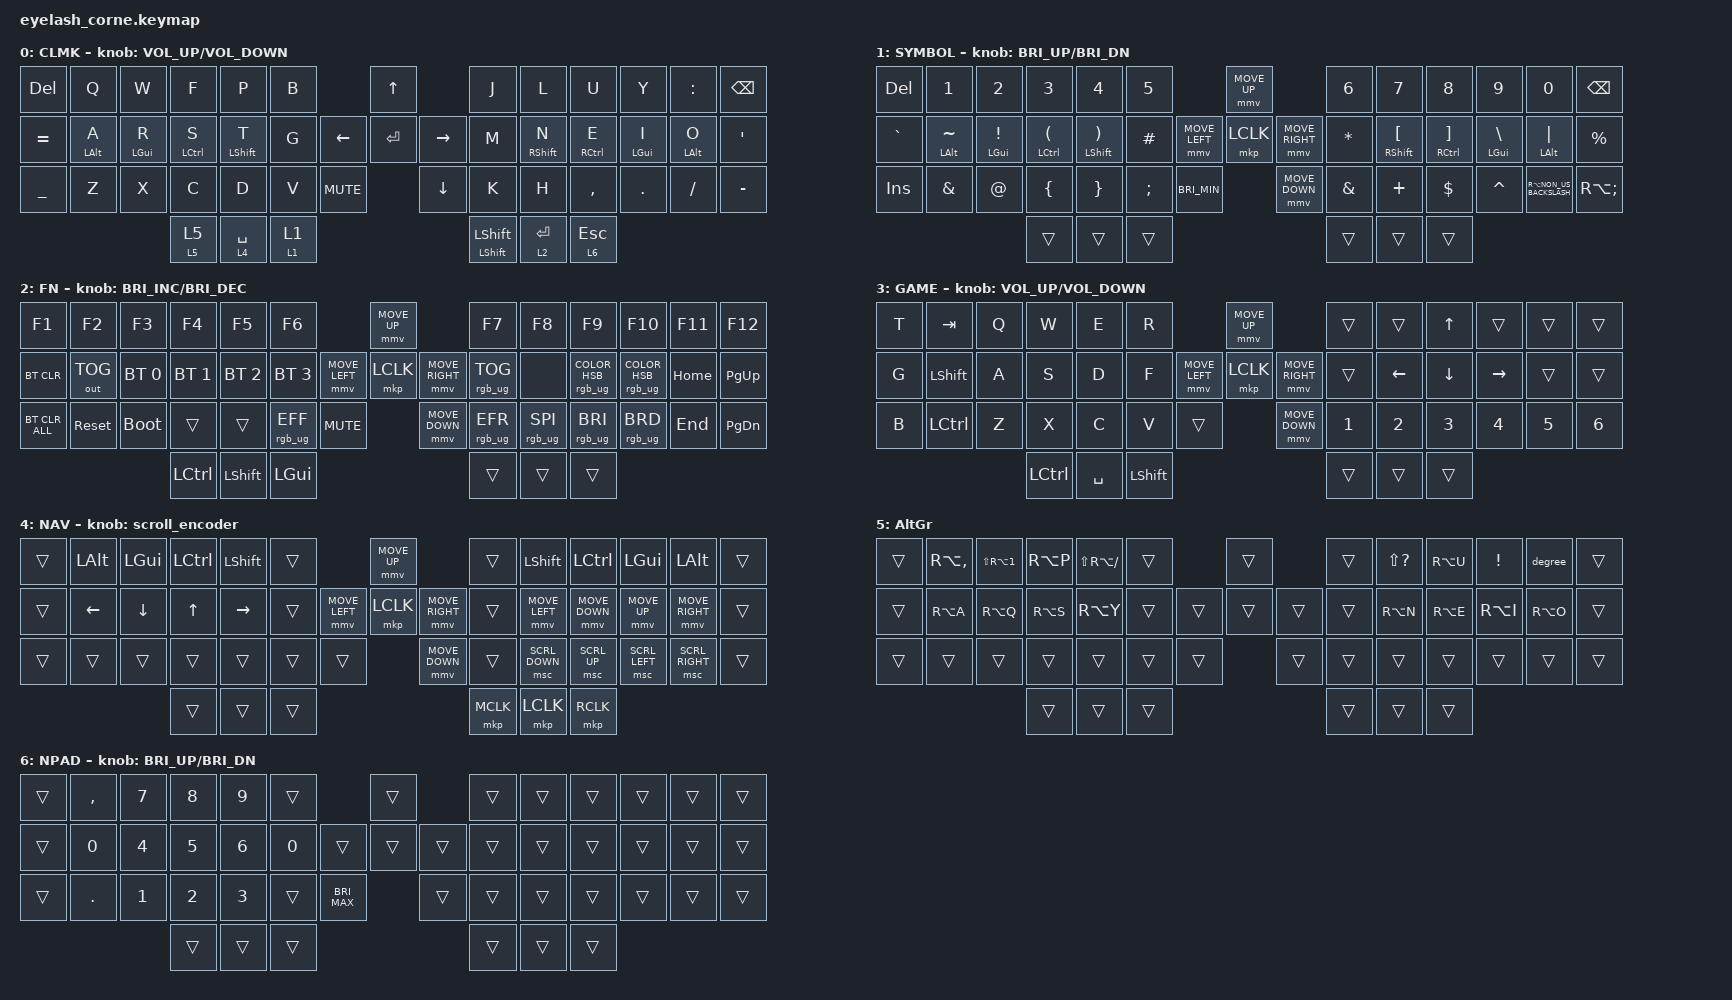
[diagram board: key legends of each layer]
#define ZMK_POINTING_DEFAULT_MOVE_VAL 1200  // 600
#define ZMK_POINTING_DEFAULT_SCRL_VAL 25   // 10

#include <input/processors.dtsi>
#include <zephyr/dt-bindings/input/input-event-codes.h>
#include <behaviors.dtsi>
#include <dt-bindings/zmk/bt.h>
#include <dt-bindings/zmk/keys.h>
#include <dt-bindings/zmk/outputs.h>
#include <dt-bindings/zmk/pointing.h>
#include <dt-bindings/zmk/rgb.h>

&mmv_input_listener { input-processors = <&zip_xy_scaler 2 1>; };

&msc_input_listener { input-processors = <&zip_scroll_scaler 2 1>; };

&msc {
    acceleration-exponent = <1>;      // 0
    time-to-max-speed-ms = <100>;       // 300
    delay-ms = <0>;                   // 0
};

&mmv {
    time-to-max-speed-ms = <500>;
    acceleration-exponent = <1>;
    trigger-period-ms = <16>;
};

&sl { release-after-ms = <2000>; };

&lt { quick-tap-ms = <175>; };

#define KEYS_L LT0 LT1 LT2 LT3 LT4 LM0 LM1 LM2 LM3 LM4 LB0 LB1 LB2 LB3 LB4
#define KEYS_R RT0 RT1 RT2 RT3 RT4 RM0 RM1 RM2 RM3 RM4 RB0 RB1 RB2 RB3 RB4
#define THUMBS LH2 LH1 LH0 RH0 RH1 RH2

/ {
    behaviors {
        td0: td0 {
            compatible = "zmk,behavior-tap-dance";
            display-name = "Shift/Caps Lock Tap Dance";
            #binding-cells = <0>;
            bindings = <&kp LEFT_SHIFT>, <&kp CAPS>;
        };

        lt_sk: lt_sk {
            compatible = "zmk,behavior-hold-tap";
            #binding-cells = <2>;
            flavor = "tap-preferred";
            tapping-term-ms = <200>;
            quick-tap-ms = <175>;
            bindings = <&mo>, <&sk>;

            // hold = momentary layer, tap = sticky key
        };

        hml: hml {
            compatible = "zmk,behavior-hold-tap";
            #binding-cells = <2>;
            flavor = "balanced";
            tapping-term-ms = <280>;
            quick-tap-ms = <175>;
            require-prior-idle-ms = <150>;
            bindings = <&kp>, <&kp>;

            hold-trigger-key-positions = <7 8 9 10 11 12 22 23 24 25 26 27 39 40 44 45 46 6 19 20 21 35 36 43 44 45 46 47 48 38 37 41 42 34>;
            hold-trigger-on-release;
        };

        // Mano derecha

        hmr: hmr {
            compatible = "zmk,behavior-hold-tap";
            #binding-cells = <2>;
            flavor = "balanced";
            tapping-term-ms = <280>;
            quick-tap-ms = <175>;
            require-prior-idle-ms = <150>;
            bindings = <&kp>, <&kp>;

            hold-trigger-key-positions = <0 1 2 3 4 5 13 14 15 16 17 18 29 30 31 32 33 34 6 19 20 21 35 43 44 45 46 47 48 42 28>;
            hold-trigger-on-release;
        };

        shift: shift {
            compatible = "zmk,behavior-hold-tap";
            label = "SHIFT";
            bindings = <&kp>, <&sk>;

            #binding-cells = <2>;
            tapping-term-ms = <2000>;
            flavor = "balanced";
        };

        l_mo_sk: l_mo_sk {
            compatible = "zmk,behavior-hold-tap";
            label = "Momentary and sticky layer";
            bindings = <&mo>, <&sl>;

            #binding-cells = <2>;
            tapping-term-ms = <2000>;
            flavor = "balanced";
        };
    };

    rgb_encoder: rgb_encoder {
        compatible = "zmk,behavior-sensor-rotate";
        #sensor-binding-cells = <0>;
        bindings = <&rgb_ug RGB_BRI>, <&rgb_ug RGB_BRD>;
    };

    scroll_encoder: scroll_encoder {
        compatible = "zmk,behavior-sensor-rotate";
        #sensor-binding-cells = <0>;
        bindings = <&msc SCRL_DOWN>, <&msc SCRL_UP>;

        tap-ms = <100>;
    };

    combos {
        compatible = "zmk,combos";

        tog_game {
            bindings = <&tog 3>;
            key-positions = <12 11 10>;
        };

        Tab1 {
            bindings = <&kp TAB>;
            key-positions = <3 4>;
        };

        Fn {
            bindings = <&tog 2>;
            key-positions = <1 2 3>;
        };

        Capslock {
            bindings = <&kp CAPS>;
            key-positions = <23 24 25>;
        };
    };

    macros {
        degree: degree {
            compatible = "zmk,behavior-macro";
            #binding-cells = <0>;
            bindings = <&kp RA(LS(N0)) &kp SPACE>;
            label = "DEGREE";
        };
    };

    keymap {
        compatible = "zmk,keymap";

        default_layer {
            bindings = <
&kp DELETE  &kp Q        &kp W        &kp F                &kp P              &kp B                                 &kp UP_ARROW               &kp J                         &kp L         &kp U         &kp Y        &kp COLON        &kp BACKSPACE
&kp EQUAL   &hml LALT A  &hml LGUI R  &hml LEFT_CONTROL S  &hml LEFT_SHIFT T  &kp G                       &kp LEFT  &kp ENTER       &kp RIGHT  &kp M                         &hmr RSHFT N  &hmr RCTRL E  &hmr LGUI I  &hmr LEFT_ALT O  &kp APOS
&kp UNDER   &kp Z        &kp X        &kp C                &kp D              &kp V         &kp C_MUTE              &kp DOWN_ARROW             &kp K                         &kp H         &kp COMMA     &kp DOT      &kp FSLH         &kp MINUS
                                      &l_mo_sk 5 5         &lt 4 SPACE        &l_mo_sk 1 1                                                     &shift LEFT_SHIFT LEFT_SHIFT  &lt 2 ENTER   &lt 6 ESCAPE
            >;

            sensor-bindings = <&inc_dec_kp C_VOLUME_UP C_VOLUME_DOWN>;
            label = "CLMK";
        };

        symbol_layer {
            display-name = "SYMBOL";
            bindings = <
&kp DEL    &kp N1           &kp N2                 &kp N3                              &kp N4                             &kp N5                                          &mmv MOVE_UP                     &kp N6         &kp N7                    &kp N8                    &kp N9               &kp N0                    &kp BACKSPACE
&kp GRAVE  &hml LALT TILDE  &hml LGUI EXCLAMATION  &hml LEFT_CONTROL LEFT_PARENTHESIS  &hml LEFT_SHIFT RIGHT_PARENTHESIS  &kp POUND                       &mmv MOVE_LEFT  &mkp LCLK       &mmv MOVE_RIGHT  &kp ASTRK      &hmr RSHIFT LEFT_BRACKET  &hmr RCTRL RIGHT_BRACKET  &hmr LGUI BACKSLASH  &hmr LEFT_ALT PIPE        &kp PERCENT
&kp INS    &kp AMPERSAND    &kp AT                 &kp LEFT_BRACE                      &kp RIGHT_BRACE                    &kp SEMICOLON  &kp C_BRI_MIN                    &mmv MOVE_DOWN                   &kp AMPERSAND  &kp PLUS                  &kp DOLLAR                &kp CARET            &kp RA(NON_US_BACKSLASH)  &kp RA(SEMICOLON)
                                                   &trans                              &trans                             &trans                                                                           &trans         &trans                    &trans
            >;

            sensor-bindings = <&inc_dec_kp C_BRI_UP C_BRI_DN>;
        };

        function_layer {
            display-name = "FN";
            bindings = <
&kp F1          &kp F2        &kp F3        &kp F4            &kp F5        &kp F6                                         &mmv MOVE_UP                     &kp F7           &kp F8           &kp F9                          &kp F10                          &kp F11   &kp F12
&bt BT_CLR      &out OUT_TOG  &bt BT_SEL 0  &bt BT_SEL 1      &bt BT_SEL 2  &bt BT_SEL 3                   &mmv MOVE_LEFT  &mkp LCLK       &mmv MOVE_RIGHT  &rgb_ug RGB_TOG  &none            &rgb_ug RGB_COLOR_HSB(0,0,100)  &rgb_ug RGB_COLOR_HSB(52,15,67)  &kp HOME  &kp PG_UP
&bt BT_CLR_ALL  &sys_reset    &bootloader   &trans            &trans        &rgb_ug RGB_EFF  &kp C_MUTE                    &mmv MOVE_DOWN                   &rgb_ug RGB_EFR  &rgb_ug RGB_SPI  &rgb_ug RGB_BRI                 &rgb_ug RGB_BRD                  &kp END   &kp PG_DN
                                            &kp LEFT_CONTROL  &kp LSHIFT    &kp LGUI                                                                        &trans           &trans           &trans
            >;

            sensor-bindings = <&inc_dec_kp C_BRIGHTNESS_INC C_BRIGHTNESS_DEC>;
        };

        game_layer {
            bindings = <
&kp T  &kp TAB    &kp Q  &kp W      &kp E      &kp R                                &mmv MOVE_UP                     &trans  &trans          &kp UP_ARROW  &trans     &trans  &trans
&kp G  &kp LSHFT  &kp A  &kp S      &kp D      &kp F                &mmv MOVE_LEFT  &mkp LCLK       &mmv MOVE_RIGHT  &trans  &kp LEFT_ARROW  &kp DOWN      &kp RIGHT  &trans  &trans
&kp B  &kp LCTRL  &kp Z  &kp X      &kp C      &kp V      &trans                    &mmv MOVE_DOWN                   &kp N1  &kp N2          &kp N3        &kp N4     &kp N5  &kp N6
                         &kp LCTRL  &kp SPACE  &kp LSHFT                                                             &trans  &trans          &trans
            >;

            label = "GAME";
            sensor-bindings = <&inc_dec_kp K_VOLUME_UP K_VOLUME_DOWN>;
        };

        navigation_layer {
            bindings = <
&trans  &kp LALT  &kp LGUI        &kp LCTRL     &kp LSHFT  &trans                            &mmv MOVE_UP                     &trans     &kp LSHFT       &kp LCTRL       &kp LGUI        &kp LALT         &trans
&trans  &kp LEFT  &kp DOWN_ARROW  &kp UP_ARROW  &kp RIGHT  &trans            &mmv MOVE_LEFT  &mkp LCLK       &mmv MOVE_RIGHT  &trans     &mmv MOVE_LEFT  &mmv MOVE_DOWN  &mmv MOVE_UP    &mmv MOVE_RIGHT  &trans
&trans  &trans    &trans          &trans        &trans     &trans  &trans                    &mmv MOVE_DOWN                   &trans     &msc SCRL_DOWN  &msc SCRL_UP    &msc SCRL_LEFT  &msc SCRL_RIGHT  &trans
                                  &trans        &trans     &trans                                                             &mkp MCLK  &mkp LCLK       &mkp RCLK
            >;

            sensor-bindings = <&scroll_encoder>;
            label = "NAV";
        };

        special_layer {
            bindings = <
&trans  &kp RA(COMMA)  &kp LS(RA(NUMBER_1))  &kp RA(P)  &kp LS(RA(SLASH))  &trans                    &trans          &trans  &kp LS(QUESTION)  &kp RA(U)  &kp EXCL   &degree    &trans
&trans  &kp RA(A)      &kp RA(Q)             &kp RA(S)  &kp RA(Y)          &trans            &trans  &trans  &trans  &trans  &kp RA(N)         &kp RA(E)  &kp RA(I)  &kp RA(O)  &trans
&trans  &trans         &trans                &trans     &trans             &trans  &trans            &trans          &trans  &trans            &trans     &trans     &trans     &trans
                                             &trans     &trans             &trans                                    &trans  &trans            &trans
            >;

            label = "AltGr";
        };

        numpad {
            bindings = <
&trans  &kp COMMA  &kp N7  &kp N8  &kp N9  &trans                           &trans          &trans  &trans  &trans  &trans  &trans  &trans
&trans  &kp N0     &kp N4  &kp N5  &kp N6  &kp N0                   &trans  &trans  &trans  &trans  &trans  &trans  &trans  &trans  &trans
&trans  &kp DOT    &kp N1  &kp N2  &kp N3  &trans  &kp C_BRI_MAX            &trans          &trans  &trans  &trans  &trans  &trans  &trans
                           &trans  &trans  &trans                                           &trans  &trans  &trans
            >;

            sensor-bindings = <&inc_dec_kp C_BRI_UP C_BRI_DN>;
            label = "NPAD";
        };
    };
};
